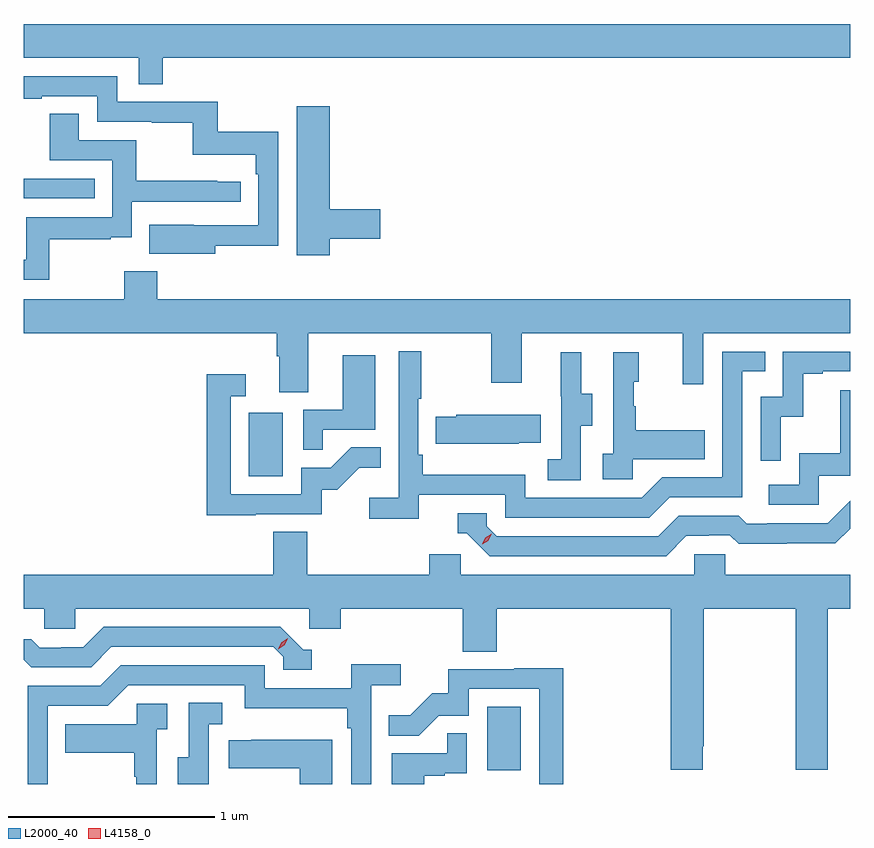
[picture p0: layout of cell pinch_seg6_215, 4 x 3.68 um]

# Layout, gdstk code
import gdstk
lib = gdstk.Library(unit=1e-6, precision=1e-09)
def R(c, l, rs):  # rectangles x0, y0, x1, y1
    for r in rs: c.add(gdstk.rectangle(r[:2], r[2:], *l))
def P(c, l, *ps):  # polygons
    for p in ps: c.add(gdstk.Polygon(p, *l))
L2000_40 = (2000, 40)
L4158_0 = (4158, 0)

pinch_seg6_215 = lib.new_cell('pinch_seg6_215')
R(pinch_seg6_215, L2000_40, [(1079.114,923.91,1079.278,924.217), (1077.962,925.332,1078.126,925.639), (1076.872,926.676,1077.215,926.772)])
P(pinch_seg6_215, L2000_40, [(1077.545,927.356),(1080.872,927.356),(1080.872,927.52),(1076.872,927.52),(1076.872,927.356),(1077.429,927.356),(1077.429,927.229),(1077.545,927.229)],
  [(1077.799,926.446),(1078.104,926.446),(1078.104,926.998),(1077.811,926.998),(1077.811,927.144),(1077.324,927.144),(1077.324,927.267),(1076.872,927.267),(1076.872,927.159),(1076.959,927.159),(1076.959,927.171),(1077.228,927.171),(1077.228,927.048),(1077.493,927.048),(1077.493,927.043),(1077.69,927.043),(1077.69,926.888),(1077.995,926.888),(1077.995,926.792),(1078.008,926.792),(1078.008,926.547),(1077.695,926.547),(1077.695,926.548),(1077.481,926.548),(1077.481,926.408),(1077.799,926.408)],
  [(1078.354,926.482),(1078.597,926.482),(1078.597,926.624),(1078.354,926.624),(1078.354,927.121),(1078.193,927.121),(1078.193,926.4),(1078.354,926.4)],
  [(1076.995,926.478),(1077.293,926.478),(1077.293,926.489),(1077.396,926.489),(1077.396,926.661),(1077.922,926.661),(1077.922,926.757),(1077.809,926.757),(1077.809,926.762),(1077.416,926.762),(1077.416,926.958),(1077.139,926.958),(1077.139,927.086),(1076.999,927.086),(1076.999,926.862),(1077.3,926.862),(1077.3,926.586),(1076.884,926.586),(1076.884,926.38),(1076.872,926.38),(1076.872,926.283),(1076.995,926.283)],
  [(1078.249,926.024),(1079.134,926.024),(1079.134,925.785),(1079.281,925.785),(1079.281,926.024),(1080.062,926.024),(1080.062,925.776),(1080.159,925.776),(1080.159,926.024),(1080.872,926.024),(1080.872,926.188),(1077.518,926.188),(1077.518,926.323),(1077.358,926.323),(1077.358,926.188),(1076.872,926.188),(1076.872,926.024),(1078.097,926.024),(1078.097,925.912),(1078.109,925.912),(1078.109,925.738),(1078.249,925.738)],
  [(1078.784,925.242),(1079.202,925.242),(1079.202,925.131),(1079.899,925.131),(1079.998,925.23),(1080.348,925.23),(1080.348,925.839),(1080.461,925.839),(1080.461,925.935),(1080.252,925.935),(1080.252,925.326),(1079.961,925.326),(1079.862,925.227),(1079.298,925.227),(1079.298,925.339),(1078.802,925.339),(1078.802,925.435),(1078.782,925.435),(1078.782,925.708),(1078.795,925.708),(1078.795,925.936),(1078.686,925.936),(1078.686,925.228),(1078.545,925.228),(1078.545,925.126),(1078.784,925.126)],
  [(1080.534,925.619),(1080.644,925.619),(1080.644,925.827),(1080.739,925.827),(1080.739,925.839),(1080.872,925.839),(1080.872,925.935),(1080.546,925.935),(1080.546,925.716),(1080.438,925.716),(1080.438,925.407),(1080.534,925.407)],
  [(1079.568,925.576),(1079.623,925.576),(1079.623,925.731),(1079.569,925.731),(1079.569,925.933),(1079.471,925.933),(1079.471,925.719),(1079.472,925.719),(1079.472,925.415),(1079.409,925.415),(1079.409,925.312),(1079.568,925.312)],
  [(1079.82,925.415),(1080.167,925.415),(1080.167,925.555),(1079.833,925.555),(1079.833,925.67),(1079.823,925.67),(1079.823,925.788),(1079.848,925.788),(1079.848,925.933),(1079.724,925.933),(1079.724,925.442),(1079.673,925.442),(1079.673,925.317),(1079.82,925.317)],
  [(1078.319,925.557),(1078.573,925.557),(1078.573,925.918),(1078.415,925.918),(1078.415,925.653),(1078.224,925.653),(1078.224,925.459),(1078.319,925.459)],
  [(1077.995,925.149),(1078.314,925.149),(1078.314,925.266),(1078.39,925.266),(1078.497,925.373),(1078.601,925.373),(1078.601,925.472),(1078.457,925.472),(1078.359,925.374),(1078.215,925.374),(1078.215,925.245),(1077.873,925.245),(1077.873,925.719),(1077.946,925.719),(1077.946,925.825),(1077.757,925.825),(1077.757,925.144),(1077.995,925.144)],
  [(1080.72,925.335),(1080.872,925.335),(1080.872,925.747),(1080.823,925.747),(1080.823,925.444),(1080.624,925.444),(1080.624,925.29),(1080.477,925.29),(1080.477,925.194),(1080.72,925.194)],
  [(1079.267,925.493),(1079.375,925.493),(1079.375,925.63),(1078.965,925.63),(1078.965,925.62),(1078.867,925.62),(1078.867,925.49),(1079.267,925.49)],
  [(1080.079,925.044),(1080.186,925.044),(1080.186,925.047),(1080.289,925.047),(1080.331,925.005),(1080.564,925.005),(1080.564,925.007),(1080.8,925.007),(1080.872,925.079),(1080.872,925.214),(1080.762,925.104),(1080.469,925.104),(1080.469,925.101),(1080.37,925.101),(1080.331,925.14),(1080.042,925.14),(1079.943,925.041),(1079.16,925.041),(1079.112,925.089),(1079.112,925.152),(1078.973,925.152),(1078.973,925.056),(1079.016,925.056),(1079.127,924.945),(1079.98,924.945)],
  [(1080.157,924.025),(1080.162,924.025),(1080.162,924.692),(1080.607,924.692),(1080.607,923.913),(1080.762,923.913),(1080.762,924.692),(1080.872,924.692),(1080.872,924.856),(1080.267,924.856),(1080.267,924.954),(1080.117,924.954),(1080.117,924.856),(1078.986,924.856),(1078.986,924.954),(1078.835,924.954),(1078.835,924.856),(1078.244,924.856),(1078.244,925.064),(1078.079,925.064),(1078.079,924.856),(1076.872,924.856),(1076.872,924.692),(1076.973,924.692),(1076.973,924.594),(1077.123,924.594),(1077.123,924.692),(1078.254,924.692),(1078.254,924.594),(1078.406,924.594),(1078.406,924.692),(1078.997,924.692),(1078.997,924.484),(1079.162,924.484),(1079.162,924.692),(1080.002,924.692),(1080.002,923.913),(1080.157,923.913)],
  [(1078.267,924.492),(1078.224,924.492),(1078.113,924.603),(1077.26,924.603),(1077.161,924.504),(1077.054,924.504),(1077.054,924.501),(1076.951,924.501),(1076.909,924.544),(1076.872,924.544),(1076.872,924.445),(1076.909,924.408),(1077.198,924.408),(1077.297,924.507),(1078.08,924.507),(1078.128,924.459),(1078.128,924.396),(1078.267,924.396)],
  [(1076.988,924.222),(1077.279,924.222),(1077.378,924.321),(1077.942,924.321),(1077.942,924.209),(1078.438,924.209),(1078.438,924.113),(1078.458,924.113),(1078.458,923.843),(1078.554,923.843),(1078.554,924.32),(1078.696,924.32),(1078.696,924.422),(1078.457,924.422),(1078.457,924.306),(1078.038,924.306),(1078.038,924.417),(1077.341,924.417),(1077.242,924.318),(1076.892,924.318),(1076.892,923.843),(1076.988,923.843)],
  [(1079.483,924.404),(1079.245,924.404),(1079.245,924.399),(1078.927,924.399),(1078.927,924.282),(1078.85,924.282),(1078.743,924.175),(1078.639,924.175),(1078.639,924.076),(1078.783,924.076),(1078.881,924.174),(1079.025,924.174),(1079.025,924.303),(1079.367,924.303),(1079.367,923.843),(1079.483,923.843)],
  [(1077.768,924.133),(1077.832,924.133),(1077.832,924.236),(1077.672,924.236),(1077.672,923.973),(1077.617,923.973),(1077.617,923.843),(1077.768,923.843)],
  [(1077.516,924.107),(1077.568,924.107),(1077.568,924.231),(1077.42,924.231),(1077.42,924.133),(1077.073,924.133),(1077.073,923.993),(1077.408,923.993),(1077.408,923.879),(1077.418,923.879),(1077.418,923.843),(1077.516,923.843)],
  [(1078.81,923.883),(1078.91,923.883),(1078.91,923.895),(1079.016,923.895),(1079.016,924.089),(1078.921,924.089),(1078.921,923.991),(1078.652,923.991),(1078.652,923.843),(1078.81,923.843)],
  [(1078.366,924.058),(1077.973,924.058),(1077.973,924.055),(1077.865,924.055),(1077.865,923.918),(1078.208,923.918),(1078.208,923.843),(1078.366,923.843)])
P(pinch_seg6_215, L4158_0, [(1078.103,924.494),(1078.103,924.495),(1078.119,924.527),(1078.149,924.547),(1078.149,924.547),(1078.149,924.546),(1078.134,924.514),(1078.103,924.494)],
  [(1079.09,925.002),(1079.09,925.002),(1079.106,925.035),(1079.136,925.054),(1079.136,925.054),(1079.136,925.054),(1079.121,925.021),(1079.09,925.002)])

lib.write_gds('pinch_seg6_215.gds')
